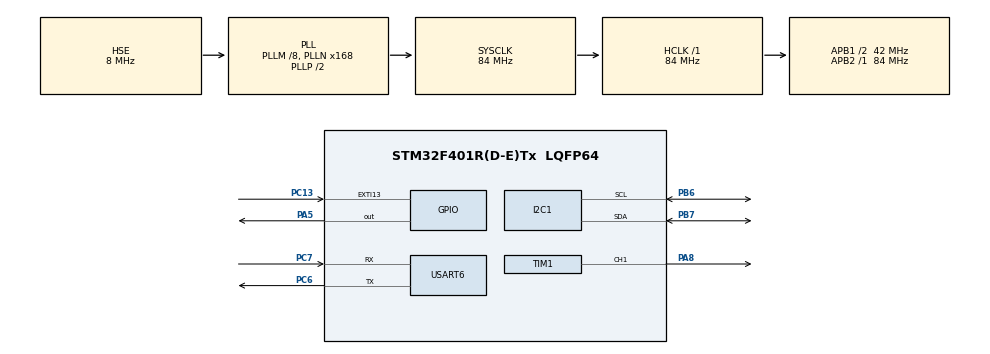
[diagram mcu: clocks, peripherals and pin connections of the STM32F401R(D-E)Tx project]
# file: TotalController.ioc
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FREERTOS.Tasks01=defaultTask,0,128,StartDefaultTask,Default,NULL,Dynamic,NULL,NULL
Mcu.Family=STM32F4
Mcu.Name=STM32F401R(D-E)Tx
Mcu.Package=LQFP64
NVIC.PriorityGroup=NVIC_PRIORITYGROUP_4
NVIC.USART6_IRQn=true\:5\:0\:false\:false\:true\:true\:true\:true
PA13.Mode=Serial_Wire
PA13.Signal=SYS_JTMS-SWDIO
PA14.Mode=Serial_Wire
PA14.Signal=SYS_JTCK-SWCLK
PA2.GPIO_Mode=GPIO_MODE_AF_PP
PA2.GPIO_PuPd=GPIO_NOPULL
PA2.GPIO_Speed=GPIO_SPEED_FREQ_VERY_HIGH
PA2.Signal=USART2_TX
PA3.GPIO_Mode=GPIO_MODE_AF_PP
PA3.GPIO_PuPd=GPIO_NOPULL
PA3.GPIO_Speed=GPIO_SPEED_FREQ_VERY_HIGH
PA3.Signal=USART2_RX
PA5.GPIO_Mode=GPIO_MODE_OUTPUT_PP
PA5.GPIO_ModeDefaultOutputPP=GPIO_MODE_OUTPUT_PP
PA5.GPIO_PuPd=GPIO_NOPULL
PA5.GPIO_Speed=GPIO_SPEED_FREQ_LOW
PA5.PinState=GPIO_PIN_RESET
PA5.Signal=GPIO_Output
PA8.Signal=S_TIM1_CH1
PB3.Signal=SYS_JTDO-SWO
PB6.Mode=I2C
PB6.Signal=I2C1_SCL
PB7.Mode=I2C
PB7.Signal=I2C1_SDA
PC13-ANTI_TAMP.GPIO_ModeDefaultEXTI=GPIO_MODE_IT_RISING
PC13-ANTI_TAMP.GPIO_PuPd=GPIO_NOPULL
PC13-ANTI_TAMP.Signal=GPXTI13
PC14-OSC32_IN.Mode=LSE-External-Oscillator
PC14-OSC32_IN.Signal=RCC_OSC32_IN
PC15-OSC32_OUT.Mode=LSE-External-Oscillator
PC15-OSC32_OUT.Signal=RCC_OSC32_OUT
PC6.Mode=Asynchronous
PC6.Signal=USART6_TX
PC7.Mode=Asynchronous
PC7.Signal=USART6_RX
PH0\ -\ OSC_IN.Mode=HSE-External-Clock-Source
PH0\ -\ OSC_IN.Signal=RCC_OSC_IN
PH1\ -\ OSC_OUT.Mode=HSE-External-Clock-Source
PH1\ -\ OSC_OUT.Signal=RCC_OSC_OUT
ProjectManager.HeapSize=0x200
ProjectManager.StackSize=0x400
ProjectManager.TargetToolchain=STM32CubeIDE
RCC.48MHZClocksFreq_Value=24000000
RCC.AHBFreq_Value=84000000
RCC.APB1CLKDivider=RCC_HCLK_DIV2
RCC.APB1Freq_Value=42000000
RCC.APB1TimFreq_Value=84000000
RCC.APB2Freq_Value=84000000
RCC.APB2TimFreq_Value=84000000
RCC.CortexFreq_Value=84000000
RCC.HCLKFreq_Value=84000000
RCC.HSE_VALUE=8000000
RCC.HSI_VALUE=16000000
RCC.PLLM=8
RCC.PLLN=168
RCC.PLLQ=7
RCC.PLLSourceVirtual=RCC_PLLSOURCE_HSE
RCC.RCC_RTC_Clock_Source=RCC_RTCCLKSOURCE_LSI
RCC.RCC_RTC_Clock_SourceVirtual=RCC_RTCCLKSOURCE_LSE
RCC.RCC_RTC_Clock_Source_FROM_HSE=RCC_RTCCLKSOURCE_HSE_DIV8
RCC.SYSCLKFreq_VALUE=84000000
RCC.SYSCLKSource=RCC_SYSCLKSOURCE_PLLCLK
RCC.VCOOutputFreq_Value=168000000
RTC.AsynchPrediv=31
RTC.Format=RTC_FORMAT_BIN
RTC.SynchPrediv=1500
SH.S_TIM1_CH1.0=TIM1_CH1,PWM Generation1 CH1
TIM1.AutoReloadPreload=TIM_AUTORELOAD_PRELOAD_ENABLE
TIM1.Channel-PWM\ Generation1\ CH1=TIM_CHANNEL_1
TIM1.ClockDivision=TIM_CLOCKDIVISION_DIV1
TIM1.Period=20000
TIM1.Prescaler=84
TIM1.RepetitionCounter=0
TIM3.AutoReloadPreload=TIM_AUTORELOAD_PRELOAD_ENABLE
TIM3.Period=0xFFFF
TIM3.Prescaler=84
USART6.VirtualMode=VM_ASYNC
VP_FREERTOS_VS_CMSIS_V1.Mode=CMSIS_V1
VP_RTC_VS_RTC_Activate.Mode=RTC_Enabled
VP_RTC_VS_RTC_Calendar.Mode=RTC_Calendar
VP_TIM3_VS_ClockSourceINT.Mode=Internal
board=NUCLEO-F401RE

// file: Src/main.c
/* USER CODE BEGIN Header */
/**
  ******************************************************************************
  * @file           : main.c
  * @brief          : Main program body
  ******************************************************************************
  * @attention
  *
  * <h2><center>&copy; Copyright (c) 2019 STMicroelectronics.
  * All rights reserved.</center></h2>
  *
  * This software component is licensed by ST under BSD 3-Clause license,
  * the "License"; You may not use this file except in compliance with the
  * License. You may obtain a copy of the License at:
  *                        opensource.org/licenses/BSD-3-Clause
  *
  ******************************************************************************
  */
/* USER CODE END Header */

#include "main.h"
#include "cmsis_os.h"
#include "i2c.h"
#include "rtc.h"
#include "tim.h"
#include "usart.h"
#include "gpio.h"

/* USER CODE BEGIN Includes */
#include "Config.h"
/* USER CODE END Includes */

/* USER CODE BEGIN PV */
uint8_t txBuffer[] ="\r\nThis is a message from STM32F401RE\r\n";
uint8_t rxBuffer[10];
uint16_t txLen = 0;

uint8_t rcvFlag = 0;
uint8_t sndFlag = 0;
/* USER CODE END PV */

void SystemClock_Config(void);
void MX_FREERTOS_Init(void);
/* USER CODE BEGIN PFP */
void UART6_IRQHandler(void);
void HAL_UART_TxCpltCallback(UART_HandleTypeDef *huart);
void HAL_UART_RxCpltCallback(UART_HandleTypeDef *huart);
/* USER CODE END PFP */

int main(void)
{

  /* MCU Configuration--------------------------------------------------------*/

  /* Reset of all peripherals, Initializes the Flash interface and the Systick. */
  HAL_Init();

  /* Configure the system clock */
  SystemClock_Config();

  /* Initialize all configured peripherals */
  MX_GPIO_Init();
  MX_USART6_UART_Init();
  MX_RTC_Init();
  MX_I2C1_Init();
  MX_TIM3_Init();
  MX_TIM1_Init();

  /* Call init function for freertos objects (in freertos.c) */
  MX_FREERTOS_Init();
  /* Start scheduler */
  osKernelStart();

  /* We should never get here as control is now taken by the scheduler */
  /* Infinite loop */
  while (1)
  {

  }
}

void SystemClock_Config(void)
{
  RCC_OscInitTypeDef RCC_OscInitStruct = {0};
  RCC_ClkInitTypeDef RCC_ClkInitStruct = {0};
  RCC_PeriphCLKInitTypeDef PeriphClkInitStruct = {0};

  /** Configure the main internal regulator output voltage
  */
  __HAL_RCC_PWR_CLK_ENABLE();
  __HAL_PWR_VOLTAGESCALING_CONFIG(PWR_REGULATOR_VOLTAGE_SCALE2);
  /** Initializes the CPU, AHB and APB busses clocks
  */
  RCC_OscInitStruct.OscillatorType = RCC_OSCILLATORTYPE_LSI|RCC_OSCILLATORTYPE_HSE;
  RCC_OscInitStruct.HSEState = RCC_HSE_BYPASS;
  RCC_OscInitStruct.LSIState = RCC_LSI_ON;
  RCC_OscInitStruct.PLL.PLLState = RCC_PLL_ON;
  RCC_OscInitStruct.PLL.PLLSource = RCC_PLLSOURCE_HSE;
  RCC_OscInitStruct.PLL.PLLM = 8;
  RCC_OscInitStruct.PLL.PLLN = 168;
  RCC_OscInitStruct.PLL.PLLP = RCC_PLLP_DIV2;
  RCC_OscInitStruct.PLL.PLLQ = 7;
  if (HAL_RCC_OscConfig(&RCC_OscInitStruct) != HAL_OK)
  {
    Error_Handler();
  }
  /** Initializes the CPU, AHB and APB busses clocks
  */
  RCC_ClkInitStruct.ClockType = RCC_CLOCKTYPE_HCLK|RCC_CLOCKTYPE_SYSCLK
                              |RCC_CLOCKTYPE_PCLK1|RCC_CLOCKTYPE_PCLK2;
  RCC_ClkInitStruct.SYSCLKSource = RCC_SYSCLKSOURCE_PLLCLK;
  RCC_ClkInitStruct.AHBCLKDivider = RCC_SYSCLK_DIV1;
  RCC_ClkInitStruct.APB1CLKDivider = RCC_HCLK_DIV2;
  RCC_ClkInitStruct.APB2CLKDivider = RCC_HCLK_DIV1;

  if (HAL_RCC_ClockConfig(&RCC_ClkInitStruct, FLASH_LATENCY_2) != HAL_OK)
  {
    Error_Handler();
  }
  PeriphClkInitStruct.PeriphClockSelection = RCC_PERIPHCLK_RTC;
  PeriphClkInitStruct.RTCClockSelection = RCC_RTCCLKSOURCE_LSI;
  if (HAL_RCCEx_PeriphCLKConfig(&PeriphClkInitStruct) != HAL_OK)
  {
    Error_Handler();
  }
}

/* USER CODE BEGIN 4 */
void UART6_IRQHandler(void){
	HAL_UART_IRQHandler(&huart6);
}

void HAL_UART_TxCpltCallback(UART_HandleTypeDef *huart){
	sndFlag = 1;
	txLen = sizeof(txBuffer) - 1;
//	HAL_UART_Transmit(&huart6, txBuffer, txLen, 0xFFFF);
}

void HAL_UART_RxCpltCallback(UART_HandleTypeDef *huart){
	rcvFlag = 1;
	HAL_UART_Transmit_IT(&huart6, rxBuffer, 1);
}

/* USER CODE END 4 */

void Error_Handler(void)
{
}

/************************ (C) COPYRIGHT STMicroelectronics *****END OF FILE****/

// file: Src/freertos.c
/* USER CODE BEGIN Header */
/**
  ******************************************************************************
  * File Name          : freertos.c
  * Description        : Code for freertos applications
  ******************************************************************************
  * @attention
  *
  * <h2><center>&copy; Copyright (c) 2020 STMicroelectronics.
  * All rights reserved.</center></h2>
  *
  * This software component is licensed by ST under Ultimate Liberty license
  * SLA0044, the "License"; You may not use this file except in compliance with
  * the License. You may obtain a copy of the License at:
  *                             www.st.com/SLA0044
  *
  ******************************************************************************
  */
/* USER CODE END Header */

#include "FreeRTOS.h"
#include "task.h"
#include "main.h"
#include "cmsis_os.h"

/* USER CODE BEGIN Includes */
#include "../Src/App/Application.h"

/* USER CODE END Includes */

/* USER CODE BEGIN Variables */
osThreadId FreeRTOS_Task1;
osThreadId FreeRTOS_Task2;
osThreadId FreeRTOS_Task3;

/* USER CODE END Variables */
osThreadId defaultTaskHandle;

void StartDefaultTask(void const * argument);

void MX_FREERTOS_Init(void); /* (MISRA C 2004 rule 8.1) */

/* GetIdleTaskMemory prototype (linked to static allocation support) */
void vApplicationGetIdleTaskMemory( StaticTask_t **ppxIdleTaskTCBBuffer, StackType_t **ppxIdleTaskStackBuffer, uint32_t *pulIdleTaskStackSize );

/* USER CODE BEGIN GET_IDLE_TASK_MEMORY */
static StaticTask_t xIdleTaskTCBBuffer;
static StackType_t xIdleStack[configMINIMAL_STACK_SIZE];

void vApplicationGetIdleTaskMemory( StaticTask_t **ppxIdleTaskTCBBuffer, StackType_t **ppxIdleTaskStackBuffer, uint32_t *pulIdleTaskStackSize )
{
  *ppxIdleTaskTCBBuffer = &xIdleTaskTCBBuffer;
  *ppxIdleTaskStackBuffer = &xIdleStack[0];
  *pulIdleTaskStackSize = configMINIMAL_STACK_SIZE;
  /* place for user code */
}
/* USER CODE END GET_IDLE_TASK_MEMORY */

void MX_FREERTOS_Init(void) {

  /* Create the thread(s) */
  /* definition and creation of defaultTask */
  osThreadDef(defaultTask, StartDefaultTask, osPriorityNormal, 0, 128);
  defaultTaskHandle = osThreadCreate(osThread(defaultTask), NULL);

  /* USER CODE BEGIN RTOS_THREADS */
  /* add threads, ... */
  osThreadDef(FreeRTOS_Task1, RTOS_Task1, osPriorityNormal, 1, 128);
  FreeRTOS_Task1 = osThreadCreate(osThread(FreeRTOS_Task1), NULL);

  osThreadDef(FreeRTOS_Task2, RTOS_Task2, osPriorityNormal, 1, 128);
  FreeRTOS_Task2 = osThreadCreate(osThread(FreeRTOS_Task2), NULL);
  /* USER CODE END RTOS_THREADS */

}

void StartDefaultTask(void const * argument)
{
  for(;;)
  {
    osDelay(1);
  }
}

/************************ (C) COPYRIGHT STMicroelectronics *****END OF FILE****/
